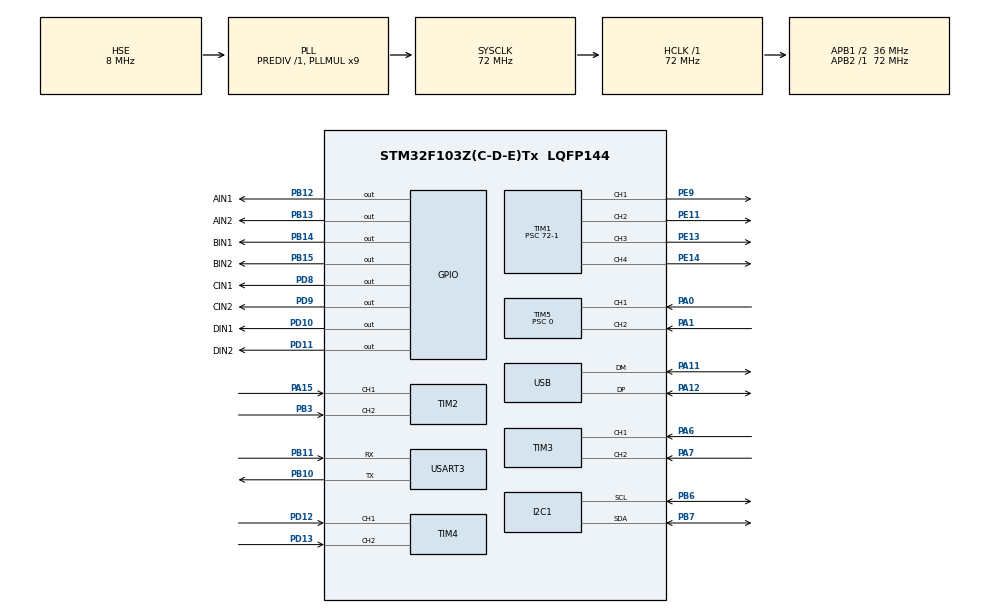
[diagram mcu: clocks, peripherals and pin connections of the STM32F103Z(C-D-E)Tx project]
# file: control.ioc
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I2C1.I2C_Mode=I2C_Fast
Mcu.Family=STM32F1
Mcu.Name=STM32F103Z(C-D-E)Tx
Mcu.Package=LQFP144
NVIC.PriorityGroup=NVIC_PRIORITYGROUP_4
NVIC.USB_LP_CAN1_RX0_IRQn=true\:0\:0\:false\:false\:true\:false\:true\:true
OSC_IN.Mode=HSE-External-Oscillator
OSC_IN.Signal=RCC_OSC_IN
OSC_OUT.Mode=HSE-External-Oscillator
OSC_OUT.Signal=RCC_OSC_OUT
PA0-WKUP.GPIO_PuPd=GPIO_PULLUP
PA0-WKUP.Signal=S_TIM5_CH1
PA1.GPIO_PuPd=GPIO_PULLUP
PA1.Signal=S_TIM5_CH2
PA11.Mode=Device
PA11.Signal=USB_DM
PA12.Mode=Device
PA12.Signal=USB_DP
PA13.Mode=Serial_Wire
PA13.Signal=SYS_JTMS-SWDIO
PA14.Mode=Serial_Wire
PA14.Signal=SYS_JTCK-SWCLK
PA15.GPIO_PuPd=GPIO_PULLUP
PA15.Signal=S_TIM2_CH1_ETR
PA6.GPIO_PuPd=GPIO_PULLUP
PA6.Signal=S_TIM3_CH1
PA7.GPIO_PuPd=GPIO_PULLUP
PA7.Signal=S_TIM3_CH2
PB10.Mode=Asynchronous
PB10.Signal=USART3_TX
PB11.Mode=Asynchronous
PB11.Signal=USART3_RX
PB12.GPIO_Label=AIN1
PB12.Signal=GPIO_Output
PB13.GPIO_Label=AIN2
PB13.Signal=GPIO_Output
PB14.GPIO_Label=BIN1
PB14.Signal=GPIO_Output
PB15.GPIO_Label=BIN2
PB15.Signal=GPIO_Output
PB3.GPIO_PuPd=GPIO_PULLUP
PB3.Signal=S_TIM2_CH2
PB6.Mode=I2C
PB6.Signal=I2C1_SCL
PB7.Mode=I2C
PB7.Signal=I2C1_SDA
PD10.GPIO_Label=DIN1
PD10.Signal=GPIO_Output
PD11.GPIO_Label=DIN2
PD11.Signal=GPIO_Output
PD12.GPIO_PuPd=GPIO_PULLUP
PD12.Signal=S_TIM4_CH1
PD13.GPIO_PuPd=GPIO_PULLUP
PD13.Signal=S_TIM4_CH2
PD8.GPIO_Label=CIN1
PD8.Signal=GPIO_Output
PD9.GPIO_Label=CIN2
PD9.Signal=GPIO_Output
PE11.Signal=S_TIM1_CH2
PE13.Signal=S_TIM1_CH3
PE14.Signal=S_TIM1_CH4
PE9.Signal=S_TIM1_CH1
ProjectManager.HeapSize=0x200
ProjectManager.StackSize=0x400
ProjectManager.TargetToolchain=CMake
RCC.AHBFreq_Value=72000000
RCC.APB1CLKDivider=RCC_HCLK_DIV2
RCC.APB1Freq_Value=36000000
RCC.APB1TimFreq_Value=72000000
RCC.APB2Freq_Value=72000000
RCC.APB2TimFreq_Value=72000000
RCC.HCLKFreq_Value=72000000
RCC.PLLMUL=RCC_PLL_MUL9
RCC.PLLSourceVirtual=RCC_PLLSOURCE_HSE
RCC.SYSCLKFreq_VALUE=72000000
RCC.SYSCLKSource=RCC_SYSCLKSOURCE_PLLCLK
RCC.USBFreq_Value=48000000
RCC.USBPrescaler=RCC_USBCLKSOURCE_PLL_DIV1_5
SH.S_TIM1_CH1.0=TIM1_CH1,PWM Generation1 CH1
SH.S_TIM1_CH2.0=TIM1_CH2,PWM Generation2 CH2
SH.S_TIM1_CH3.0=TIM1_CH3,PWM Generation3 CH3
SH.S_TIM1_CH4.0=TIM1_CH4,PWM Generation4 CH4
SH.S_TIM2_CH1_ETR.0=TIM2_CH1,Encoder_Interface
SH.S_TIM2_CH2.0=TIM2_CH2,Encoder_Interface
SH.S_TIM3_CH1.0=TIM3_CH1,Encoder_Interface
SH.S_TIM3_CH2.0=TIM3_CH2,Encoder_Interface
SH.S_TIM4_CH1.0=TIM4_CH1,Encoder_Interface
SH.S_TIM4_CH2.0=TIM4_CH2,Encoder_Interface
SH.S_TIM5_CH1.0=TIM5_CH1,Encoder_Interface
SH.S_TIM5_CH2.0=TIM5_CH2,Encoder_Interface
TIM1.Channel-PWM\ Generation1\ CH1=TIM_CHANNEL_1
TIM1.Channel-PWM\ Generation2\ CH2=TIM_CHANNEL_2
TIM1.Channel-PWM\ Generation3\ CH3=TIM_CHANNEL_3
TIM1.Channel-PWM\ Generation4\ CH4=TIM_CHANNEL_4
TIM1.Prescaler=72-1
TIM5.Prescaler=0
USART3.VirtualMode=VM_ASYNC
USB_DEVICE.CLASS_NAME_FS=CDC
USB_DEVICE.VirtualMode=Cdc
USB_DEVICE.VirtualModeFS=Cdc_FS
VP_TIM1_VS_ClockSourceINT.Mode=Internal
VP_TIM8_VS_ClockSourceINT.Mode=Internal
VP_USB_DEVICE_VS_USB_DEVICE_CDC_FS.Mode=CDC_FS
board=custom

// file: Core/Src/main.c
/* USER CODE BEGIN Header */
/**
  ******************************************************************************
  * @file           : main.c
  * @brief          : Main program body
  ******************************************************************************
  * @attention
  *
  * Copyright (c) 2026 STMicroelectronics.
  * All rights reserved.
  *
  * This software is licensed under terms that can be found in the LICENSE file
  * in the root directory of this software component.
  * If no LICENSE file comes with this software, it is provided AS-IS.
  *
  ******************************************************************************
  */
/* USER CODE END Header */
#include "main.h"
#include "i2c.h"
#include "tim.h"
#include "usart.h"
#include "usb_device.h"
#include "gpio.h"

/* USER CODE BEGIN Includes */

#include "motor_driver.h"
#include "motor_control.h"
#include "usb_proto.h"
#include "oled.h"
#include "imu.h"
#include <stdio.h>

/* USER CODE END Includes */

/* USER CODE BEGIN PD */
/* ===== 单轮测试（KEY1=PE3 按下进入）参数 =====
 * 用于底盘调试：按键进入电机1闭环恒速测试，OLED 显示 rpm/pwm。
 * ⚠️ CPR 实测 28202（轮子每圈脉冲），rpm 语义 = 轮子转速：
 *    48 RPM ≈ 200mm/s（标准行驶）  100 RPM ≈ 420mm/s（测试观察） */
#define TEST_MOTOR       1        /* 测试电机号 1~4 */
#define TEST_LOOP_RPM    100      /* 目标轮子转速 (RPM) */
#define TEST_CALIB_MS    600      /* 方向标定转动时长 (ms) */
#define TEST_CALIB_PWM   300      /* 标定/软启停占空比（0~1000） */

/* KEY1(PE3) 兜底定义：CubeMX 的 .ioc 里没有配 PE3，重新生成 main.h 时会丢
 * KEY1_Pin/KEY1_GPIO_Port，这里在 USER CODE 段自带一份（已定义时自动跳过）。 */
#ifndef KEY1_Pin
#define KEY1_Pin        GPIO_PIN_3
#define KEY1_GPIO_Port  GPIOE
#endif
/* USER CODE END PD */

void SystemClock_Config(void);

/* USER CODE BEGIN 0 */
/* ===== 软启动/软停止：PWM 斜坡缓冲，避免电流冲击 =====
 * 硬启动（PWM 0→满跳变）近似堵转电流、硬制动（IN1=IN2 短接）产生
 * 反电动势冲击回灌电池，导致电源过载/电池过热/MCU 复位。因此：
 *   启动：PWM 每 20ms 步进 100（约 80ms 从 0 升到目标）
 *   停止：PWM 每 20ms 步降 100，最后为 0 时保持方向引脚（滑行），
 *         不用短接制动 —— 电机自然减速，无冲击 */
static void motor_ramp(int way, int target)
{
  const int step = 100;
  const uint32_t step_ms = 20;
  int cur = 0;

  while (cur != target)
  {
    if (target > cur)
    {
      cur += step;
      if (cur > target) cur = target;
    }
    else
    {
      cur -= step;
      if (cur < target) cur = target;
    }
    md_set_motor(way, cur);
    HAL_Delay(step_ms);
  }
}

/* 软停：从检测 PWM 逐步降到 0，方向引脚保持 → 滑行（非短接制动） */
static void motor_soft_stop(int way)
{
  const int step = 100;
  const uint32_t step_ms = 20;
  int cur = TEST_CALIB_PWM;

  while (cur > 0)
  {
    cur -= step;
    if (cur < 0) cur = 0;
    md_set_pwm(way, cur);      /* 只降 PWM，不改方向引脚 = 滑行 */
    HAL_Delay(step_ms);
  }
}

/* ===== 单电机闭环测试（KEY1 按下进入，死循环） =====
 * 流程：① 软启动正转标定编码器方向 → 软停
 *       ② PID 闭环恒速，OLED 显示 rpm/pwm（单页刷新不阻塞 10ms 周期）
 * 注意：闭环循环内禁止整帧 OLED 刷新（~97ms 阻塞会打碎控制周期，
 *       导致 rpm 乱跳/抖动，见 AGENTS.md 约束 3）。 */
static void single_motor_test_run(void)
{
  char line[24];
  uint32_t last_ms = 0;
  int way = TEST_MOTOR;

  OLED_Init();
  HAL_Delay(20);

  OLED_NewFrame();
  snprintf(line, sizeof(line), "W%d CLOSE t=%d", way, TEST_LOOP_RPM);
  OLED_PrintASCIIString(0, 0, line, &afont8x6, OLED_COLOR_NORMAL);
  OLED_ShowFrame();
  HAL_Delay(500);

  /* ① 开环预转 600ms：让轮子转一下，OLED 显示实际转速方向
   *    （正值 = 编码器计数与驱动方向一致；负值 = A/B 接反）
   *    ⚠️ 不再自动设 sign（已取消自动标定）——接线正反由用户手动决定：
   *    在 motor_driver.c 用 md_set_enc_sign(way, -1) 修正，或对调 A/B 线 */
  md_clear_encoder(0);
  motor_ramp(way, TEST_CALIB_PWM);
  HAL_Delay(TEST_CALIB_MS);
  md_get_encoder_delta(way);                       /* 关键：同步硬件 */
  int32_t raw_dir = md_get_encoder_count(way);     /* 开环转向检测值 */
  motor_soft_stop(way);
  md_clear_encoder(0);
  HAL_Delay(300);

  /* ② PID 闭环恒速：2026-09-11 实测整定 Kp=4/Ki=20（架空 47RPM 阶跃：零超调、
   *    ±5% 稳定 0.04s；旧 6.5/2.0 与 13/3 都是"起步猛冲后回落、10s 级收敛"）
   *    积分限幅 50 = OUTPUT_LIMIT/KI，积分项最多贡献满量程
   *    ⚠️ 与 motor_control.c 的 MC_PID_KP/KI/限幅默认值保持一致 */
  mc_init();
  mc_pid_tune(4.0f, 20.0f, 0.0f);
  mc_set_target(way, TEST_LOOP_RPM);

  last_ms = HAL_GetTick();
  while (1)
  {
    mc_update_all();                 /* 10ms 周期闭环（硬约束） */

    if (HAL_GetTick() - last_ms >= 200)
    {
      int rpm = mc_get_speed_rpm(way);
      uint32_t pwm = (way == 1) ? __HAL_TIM_GET_COMPARE(&htim1, TIM_CHANNEL_1) :
                     (way == 2) ? __HAL_TIM_GET_COMPARE(&htim1, TIM_CHANNEL_2) :
                     (way == 3) ? __HAL_TIM_GET_COMPARE(&htim1, TIM_CHANNEL_3) :
                                  __HAL_TIM_GET_COMPARE(&htim1, TIM_CHANNEL_4);
      last_ms = HAL_GetTick();

      /* 页1 = rpm，页2 = pwm，页3 = raw（afont8x6 = 8px = 一页，单页刷新 ≈3ms）
       * 判读：
       *   pwm 顶到 1000 → 目标超电机能力 / 负载过大（需降目标或查机械）
       *   rpm 上不去且 pwm 小 → PID 参数弱（升 Kp/Ki）
       *   raw 为负（rpm 负）→ 编码器 A/B 接反，需 md_set_enc_sign(way,-1) 手动修正 */
      snprintf(line, sizeof(line), "rpm=%d", rpm);
      OLED_NewFrame();
      OLED_PrintASCIIString(0, 8, line, &afont8x6, OLED_COLOR_NORMAL);
      OLED_ShowPage(1);

      snprintf(line, sizeof(line), "pwm=%lu", (unsigned long)pwm);
      OLED_NewFrame();
      OLED_PrintASCIIString(0, 16, line, &afont8x6, OLED_COLOR_NORMAL);
      OLED_ShowPage(2);

      snprintf(line, sizeof(line), "raw=%ld", (long)raw_dir);
      OLED_NewFrame();
      OLED_PrintASCIIString(0, 24, line, &afont8x6, OLED_COLOR_NORMAL);
      OLED_ShowPage(3);
    }

    HAL_Delay(10);                   /* 10ms 周期      */
  }
}

/* USER CODE END 0 */

int main(void)
{

  /* MCU Configuration--------------------------------------------------------*/

  /* Reset of all peripherals, Initializes the Flash interface and the Systick. */
  HAL_Init();

  /* Configure the system clock */
  SystemClock_Config();

  /* Initialize all configured peripherals */
  MX_GPIO_Init();
  MX_TIM1_Init();
  MX_TIM2_Init();
  MX_TIM3_Init();
  MX_TIM4_Init();
  MX_TIM5_Init();
  MX_TIM8_Init();
  MX_USB_DEVICE_Init();
  MX_I2C1_Init();
  MX_USART3_UART_Init();
  /* USER CODE BEGIN 2 */
  md_init();               /* 启动 PWM + 编码器，清零方向引脚 */
  /* ⚠️ 已取消 md_enc_sign_autocal() 上电自动标定：
   *   自动标定需四轮依次短转，且结果不可控；接线正反改为手动决定。
   *   四轮编码器 A/B 相实测全反（2026-08 control_test 接线检测全 REV），
   *   已软件补偿：motor_driver.c 的 md_init() 默认 sign=-1。 */
  mc_init();               /* 清零 PID 闭环状态 */
  up_init();               /* 清零 USB 车控协议状态 */
  IMU_Init();              /* IMU：USART3/PB10-PB11 自包含 bring-up（115200 8N1） */

  /* ===== 单轮测试通道：KEY1(PE3) 按下 → 电机闭环测试 =====
   * 按住 KEY1 上电即进入单电机闭环测试，用于底盘调试；
   * 否则走正常 USB 车控主循环。
   * ⚠️ KEY1(PE3) 的 GPIO 初始化必须在 USER CODE 段自己做：CubeMX 的 .ioc 里没有
   *    PE3，重新生成会把 gpio.c 里原先那段 KEY1 初始化删掉（2026-09-12 已被删过）。
   *    不初始化 → 引脚悬空，可能被读成"按下"→ 一上电就进测试死循环。
   *    根治办法：CubeMX → 把 PE3 配成 GPIO_Input（上拉、标签 KEY1）。 */
  {
    GPIO_InitTypeDef key_init = {0};
    key_init.Pin  = KEY1_Pin;
    key_init.Mode = GPIO_MODE_INPUT;
    key_init.Pull = GPIO_PULLUP;
    HAL_GPIO_Init(KEY1_GPIO_Port, &key_init);
  }
  if (HAL_GPIO_ReadPin(KEY1_GPIO_Port, KEY1_Pin) == GPIO_PIN_RESET)
  {
    HAL_Delay(100);                  /* 消抖 */
    if (HAL_GPIO_ReadPin(KEY1_GPIO_Port, KEY1_Pin) == GPIO_PIN_RESET)
    {
      single_motor_test_run();       /* 死循环：电机1闭环 + OLED 显示 */
    }
  }
  /* USER CODE END 2 */

  /* Infinite loop */
  /* USER CODE BEGIN WHILE */
  /* ===== USB 车控主循环 =====
   * 上电先自动标定编码器方向（四轮依次短转约 2.8s），
   * 之后每 10ms：up_poll()（解析 USB 命令 + 心跳状态上报）
   *           + mc_update_all()（四电机闭环）。
   * 底盘运动由地瓜派通过 USB 下发，见 docs/2.pre/USB车控接口.md。 */
  while (1)
  {
    /* USER CODE END WHILE */

    /* USER CODE BEGIN 3 */
    up_poll();                                 /* USB 协议：命令分发 + 心跳 */
    IMU_Process();                             /* IMU：轮询收字节 + 解析 + 无帧自愈 */
    mc_update_all();                           /* 10ms 周期闭环  */
    HAL_Delay(10);                             /* 10ms 周期      */
  }
  /* USER CODE END 3 */
}

void SystemClock_Config(void)
{
  RCC_OscInitTypeDef RCC_OscInitStruct = {0};
  RCC_ClkInitTypeDef RCC_ClkInitStruct = {0};
  RCC_PeriphCLKInitTypeDef PeriphClkInit = {0};

  /** Initializes the RCC Oscillators according to the specified parameters
  * in the RCC_OscInitTypeDef structure.
  */
  RCC_OscInitStruct.OscillatorType = RCC_OSCILLATORTYPE_HSE;
  RCC_OscInitStruct.HSEState = RCC_HSE_ON;
  RCC_OscInitStruct.HSEPredivValue = RCC_HSE_PREDIV_DIV1;
  RCC_OscInitStruct.HSIState = RCC_HSI_ON;
  RCC_OscInitStruct.PLL.PLLState = RCC_PLL_ON;
  RCC_OscInitStruct.PLL.PLLSource = RCC_PLLSOURCE_HSE;
  RCC_OscInitStruct.PLL.PLLMUL = RCC_PLL_MUL9;
  if (HAL_RCC_OscConfig(&RCC_OscInitStruct) != HAL_OK)
  {
    Error_Handler();
  }

  /** Initializes the CPU, AHB and APB buses clocks
  */
  RCC_ClkInitStruct.ClockType = RCC_CLOCKTYPE_HCLK|RCC_CLOCKTYPE_SYSCLK
                              |RCC_CLOCKTYPE_PCLK1|RCC_CLOCKTYPE_PCLK2;
  RCC_ClkInitStruct.SYSCLKSource = RCC_SYSCLKSOURCE_PLLCLK;
  RCC_ClkInitStruct.AHBCLKDivider = RCC_SYSCLK_DIV1;
  RCC_ClkInitStruct.APB1CLKDivider = RCC_HCLK_DIV2;
  RCC_ClkInitStruct.APB2CLKDivider = RCC_HCLK_DIV1;

  if (HAL_RCC_ClockConfig(&RCC_ClkInitStruct, FLASH_LATENCY_2) != HAL_OK)
  {
    Error_Handler();
  }
  PeriphClkInit.PeriphClockSelection = RCC_PERIPHCLK_USB;
  PeriphClkInit.UsbClockSelection = RCC_USBCLKSOURCE_PLL_DIV1_5;
  if (HAL_RCCEx_PeriphCLKConfig(&PeriphClkInit) != HAL_OK)
  {
    Error_Handler();
  }
}

void Error_Handler(void)
{
  __disable_irq();
  while (1)
  {
  }
}
